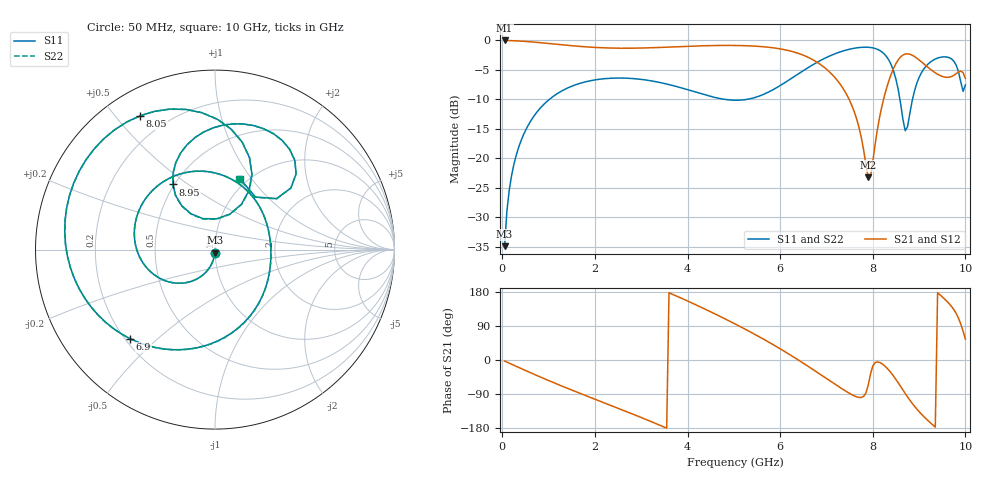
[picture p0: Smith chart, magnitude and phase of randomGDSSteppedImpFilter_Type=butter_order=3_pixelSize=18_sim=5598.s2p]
! freq	dB(S11)	phase(S11)	dB(S12)	phase(S12)
!  dB(S21)	phase(S21)	dB(S22)	phase(S22)
!S-par simulation data
#  GHz  S  DB  R 50
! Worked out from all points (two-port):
!   200 points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, 50 MHz to 10 GHz, reference 50 ohm
!   highest |S21| = 0.00 dB at 50 MHz (marker M1); lowest = -23.2 dB at 7.9 GHz (marker M2)
!   |S21| within 3 dB of the highest: start of sweep to 6.64 GHz; 8.579 GHz to 8.951 GHz (371.7 MHz wide, 4.24 % of centre)
!   lowest |S11| = -34.9 dB at 50 MHz (marker M3), VSWR 1.04, Z = 49.9 - j1.79 ohm
!   |S11| at or under -10 dB: start of sweep to 1.016 GHz; 4.807 GHz to 5.281 GHz (473.9 MHz wide, 9.4 % of centre); 8.586 GHz to 8.858 GHz (272.5 MHz wide, 3.12 % of centre)
!   |S22| runs from -34.9 to -1.1 dB; largest |S21 - S12| = 0
!   S11 on the Smith chart (normalised r, x): 50 MHz: 1.00, -0.04; 6.9 GHz: 0.22, -0.41; 8.05 GHz: 0.11, +0.58; 8.95 GHz: 0.49, +0.44; 10 GHz: 0.92, +0.88
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0.05  -34.89 -92.8  -0.00 -2.8  -0.00 -2.8  -34.89 -92.8
0.2  -22.93 -101.5  -0.04 -11.2  -0.04 -11.2  -22.93 -101.5
0.5  -15.29 -118.2  -0.17 -27.7  -0.17 -27.7  -15.29 -118.2
1.75  -7.12 178.0  -1.06 -91.5  -1.06 -91.5  -7.12 177.9
2.55  -6.38 139.8  -1.32 -129.8  -1.32 -129.8  -6.38 139.7
3.4  -7.13 97.7  -1.19 -172.1  -1.19 -172.1  -7.13 97.7
4.2  -8.83 54.7  -0.94 144.5  -0.94 144.5  -8.83 54.8
5.05  -10.15 4.1  -0.86 93.7  -0.86 93.7  -10.15 4.4
6  -7.66 -61.0  -1.43 29.6  -1.43 29.6  -7.66 -60.6
6.7  -4.16 -116.6  -3.25 -24.4  -3.25 -24.4  -4.16 -116.3
6.9  -3.28 -133.5  -4.25 -40.7  -4.25 -40.7  -3.28 -133.3
7.45  -1.58 178.0  -9.38 -84.6  -9.38 -84.6  -1.58 178.1
7.9  -1.16 135.2  -23.22 -67.4  -23.22 -67.4  -1.16 135.2
8.05  -1.37 119.2  -17.65 -7.0  -17.65 -7.0  -1.37 119.2
8.35  -3.38 82.5  -6.77 -27.2  -6.77 -27.2  -3.38 82.4
8.5  -6.58 64.0  -3.92 -51.3  -3.92 -51.3  -6.59 63.8
8.7  -15.32 87.1  -2.31 -88.2  -2.31 -88.2  -15.40 87.1
8.95  -7.29 122.9  -3.00 -129.3  -3.00 -129.3  -7.30 123.0
9.35  -3.16 86.3  -5.49 -177.1  -5.49 -177.1  -3.16 86.3
9.7  -3.14 53.3  -6.13 141.5  -6.13 141.5  -3.14 53.3
9.9  -7.02 39.6  -5.20 95.1  -5.20 95.1  -7.05 39.5
10  -7.55 70.7  -6.43 55.3  -6.43 55.3  -7.59 70.9
